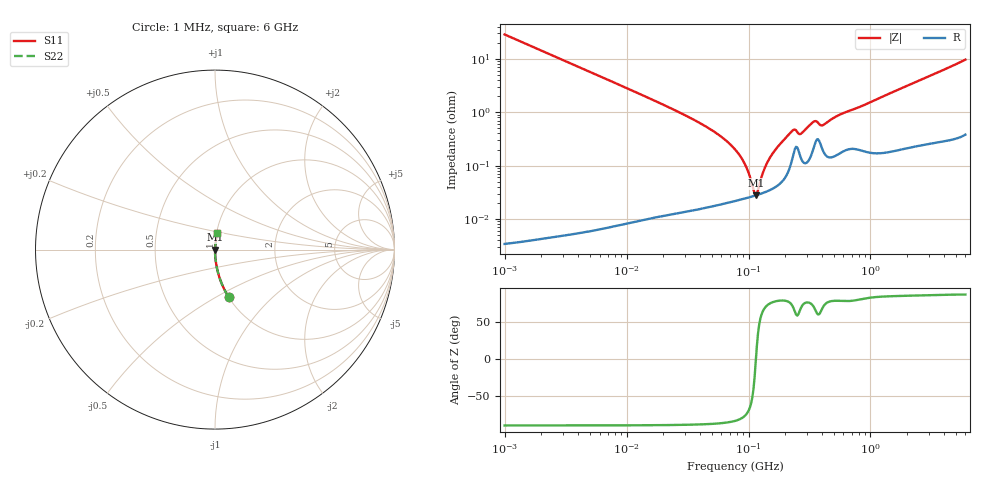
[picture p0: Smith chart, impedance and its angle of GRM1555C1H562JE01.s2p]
!Murata Part Number: GRM1555C1H562JE01
!These Parameters are Measured in Series Mode Connection
!Data Generated on Mar 30, 2021
!  o--ll--o
!Port1  Port2
!  o------o
!Operation Temp=25[degC], DC Bias Voltage=0[V]
!Freq. Start=1000[kHz] Stop=6[GHz] 401[Steps]
# Hz S RI R 50
!Freq.(Hz) S11(Real) S11(Imag) S21(Real) S21(Imag) S12(Real) S12(Imag) S22(Real) S22(Imag)
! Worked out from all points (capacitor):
!   401 points, 1 MHz to 6 GHz, reference 50 ohm
!   read as one part in series: C = 5.56 nF near 1.044 MHz
!   lowest |Z| = 27.7 mohm at 114.6 MHz (marker M1)
!   series resonance near 115 MHz, so ESL is about 350 pH
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1000000  0.0759 -0.2647  0.9241 0.2647  0.9241 0.2647  0.0759 -0.2647
4293785  0.00447 -0.0663  0.9955 0.0663  0.9955 0.0663  0.00447 -0.0663
1.843659e7  0.000338 -0.0151  0.9997 0.0151  0.9997 0.0151  0.000338 -0.0151
4.697123e7  0.000191 -0.00504  0.9998 0.00504  0.9998 0.00504  0.000191 -0.00504
6.23192e7  0.000203 -0.00322  0.9998 0.00322  0.9998 0.00322  0.000203 -0.00322
7.745967e7  0.000221 -0.00201  0.9998 0.00201  0.9998 0.00201  0.000221 -0.00201
9.420718e7  0.000244 -0.000994  0.9998 0.000994  0.9998 0.000994  0.000244 -0.000994
1.005588e8  0.000254 -0.000667  0.9997 0.000667  0.9997 0.000667  0.000254 -0.000667
1.096987e8  0.000268 -0.000233  0.9997 0.000233  0.9997 0.000233  0.000268 -0.000233
1.145757e8  0.000276 -1.65e-05  0.9997 1.65e-05  0.9997 1.65e-05  0.000276 -1.65e-05
1.196694e8  0.000285 0.000201  0.9997 -0.000201  0.9997 -0.000201  0.000285 0.000201
1.305463e8  0.000306 0.000642  0.9997 -0.000642  0.9997 -0.000642  0.000306 0.000642
1.424119e8  0.000331 0.00109  0.9997 -0.00109  0.9997 -0.00109  0.000331 0.00109
1.732027e8  0.000427 0.0022  0.9996 -0.0022  0.9996 -0.0022  0.000427 0.0022
2.297971e8  0.00142 0.00431  0.9986 -0.00431  0.9986 -0.00431  0.00142 0.00431
2.675853e8  0.00144 0.00365  0.9986 -0.00365  0.9986 -0.00365  0.00144 0.00365
3.325952e8  0.00179 0.00606  0.9982 -0.00606  0.9982 -0.00606  0.00179 0.00606
3.550194e8  0.00282 0.00621  0.9972 -0.00621  0.9972 -0.00621  0.00282 0.00621
4.133993e8  0.00181 0.00555  0.9982 -0.00555  0.9982 -0.00555  0.00181 0.00555
5.60538e8  0.00177 0.00883  0.9982 -0.00883  0.9982 -0.00883  0.00177 0.00883
1.428092e9  0.00229 0.0222  0.9977 -0.0222  0.9977 -0.0222  0.00229 0.0222
6e9  0.0129 0.095  0.9871 -0.095  0.9871 -0.095  0.0129 0.095
